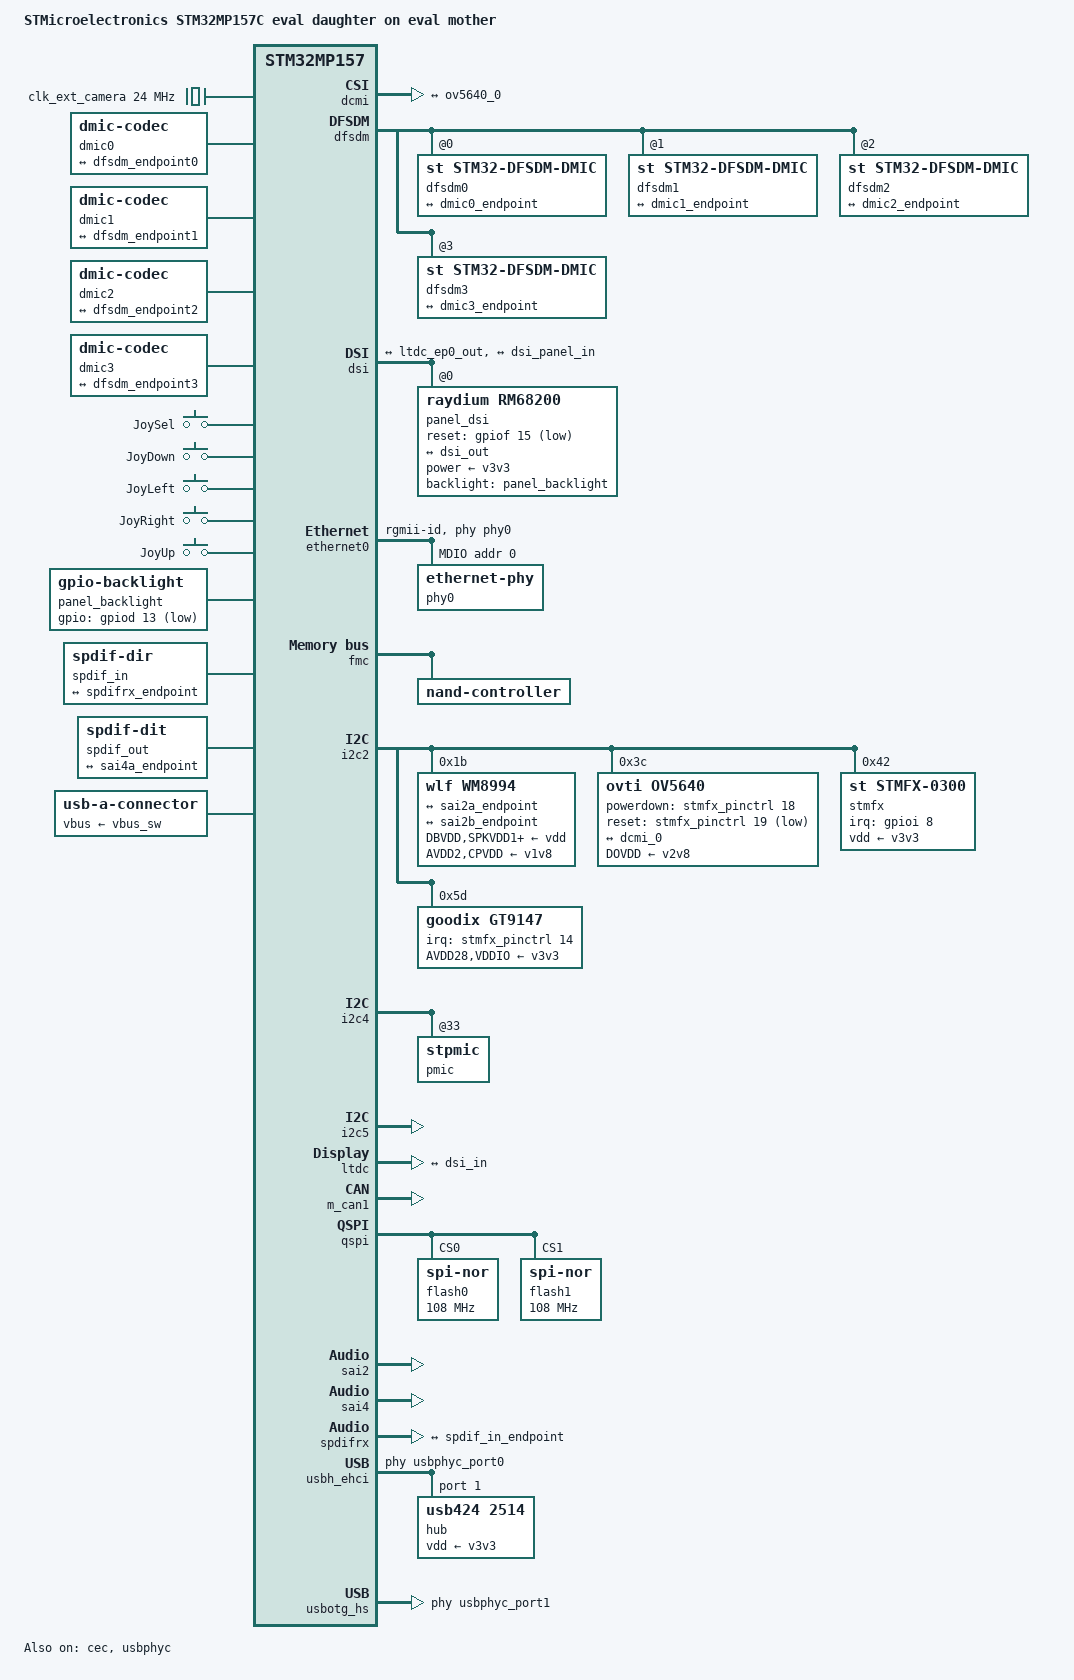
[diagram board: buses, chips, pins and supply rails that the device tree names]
// SPDX-License-Identifier: (GPL-2.0+ OR BSD-3-Clause)
/*
 * Copyright (C) STMicroelectronics 2017 - All Rights Reserved
 * Author: Ludovic Barre <ludovic.barre@st.com> for STMicroelectronics.
 */
/dts-v1/;

#include "stm32mp157c-ed1.dts"
#include "stm32mp157c-ev1-scmi.dtsi"
#include <dt-bindings/gpio/gpio.h>
#include <dt-bindings/input/input.h>

/ {
	model = "STMicroelectronics STM32MP157C eval daughter on eval mother";
	compatible = "st,stm32mp157c-ev1", "st,stm32mp157c-ed1", "st,stm32mp157";

	aliases {
		serial1 = &usart3;
		serial4 = &usart1;
		ethernet0 = &ethernet0;
	};

	chosen {
		#address-cells = <1>;
		#size-cells = <1>;
		ranges;
		stdout-path = "serial0:115200n8";

		framebuffer {
			compatible = "simple-framebuffer";
			clocks = <&rcc LTDC_PX>, <&rcc DSI>, <&rcc DSI_PX>;
			status = "disabled";
		};
	};

	clocks {
		clk_ext_camera: clk-ext-camera {
			#clock-cells = <0>;
			compatible = "fixed-clock";
			clock-frequency = <24000000>;
		};
	};

	dmic0: dmic-0 {
		compatible = "dmic-codec";
		#sound-dai-cells = <1>;
		sound-name-prefix = "dmic0";

		port {
			dmic0_endpoint: endpoint {
				remote-endpoint = <&dfsdm_endpoint0>;
			};
		};
	};

	dmic1: dmic-1 {
		compatible = "dmic-codec";
		#sound-dai-cells = <1>;
		sound-name-prefix = "dmic1";

		port {
			dmic1_endpoint: endpoint {
				remote-endpoint = <&dfsdm_endpoint1>;
			};
		};
	};

	dmic2: dmic-2 {
		compatible = "dmic-codec";
		#sound-dai-cells = <1>;
		sound-name-prefix = "dmic2";

		port {
			dmic2_endpoint: endpoint {
				remote-endpoint = <&dfsdm_endpoint2>;
			};
		};
	};

	dmic3: dmic-3 {
		compatible = "dmic-codec";
		#sound-dai-cells = <1>;
		sound-name-prefix = "dmic3";

		port {
			dmic3_endpoint: endpoint {
				remote-endpoint = <&dfsdm_endpoint3>;
			};
		};
	};

	joystick {
		compatible = "gpio-keys";
		pinctrl-0 = <&joystick_pins>;
		pinctrl-names = "default";
		button-0 {
			label = "JoySel";
			linux,code = <KEY_ENTER>;
			interrupt-parent = <&stmfx_pinctrl>;
			interrupts = <0 IRQ_TYPE_EDGE_RISING>;
		};
		button-1 {
			label = "JoyDown";
			linux,code = <KEY_DOWN>;
			interrupt-parent = <&stmfx_pinctrl>;
			interrupts = <1 IRQ_TYPE_EDGE_RISING>;
		};
		button-2 {
			label = "JoyLeft";
			linux,code = <KEY_LEFT>;
			interrupt-parent = <&stmfx_pinctrl>;
			interrupts = <2 IRQ_TYPE_EDGE_RISING>;
		};
		button-3 {
			label = "JoyRight";
			linux,code = <KEY_RIGHT>;
			interrupt-parent = <&stmfx_pinctrl>;
			interrupts = <3 IRQ_TYPE_EDGE_RISING>;
		};
		button-4 {
			label = "JoyUp";
			linux,code = <KEY_UP>;
			interrupt-parent = <&stmfx_pinctrl>;
			interrupts = <4 IRQ_TYPE_EDGE_RISING>;
		};
	};

	panel_backlight: panel-backlight {
		compatible = "gpio-backlight";
		gpios = <&gpiod 13 GPIO_ACTIVE_LOW>;
		default-on;
		default-brightness-level = <1>;
		status = "okay";
	};

	sound: sound {
		compatible = "audio-graph-card";
		label = "STM32MP15-EV";
		routing =
			"AIF1CLK" , "MCLK1",
			"AIF2CLK" , "MCLK1",
			"IN1LN" , "MICBIAS2",
			"DMIC2DAT" , "MICBIAS1",
			"DMIC1DAT" , "MICBIAS1";
		dais = <&sai2a_port &sai2b_port &sai4a_port &spdifrx_port
			&dfsdm0_port &dfsdm1_port &dfsdm2_port &dfsdm3_port>;
		status = "okay";
	};

	spdif_in: spdif-in {
		#sound-dai-cells = <0>;
		compatible = "linux,spdif-dir";

		spdif_in_port: port {
			spdif_in_endpoint: endpoint {
				remote-endpoint = <&spdifrx_endpoint>;
			};
		};
	};

	spdif_out: spdif-out {
		#sound-dai-cells = <0>;
		compatible = "linux,spdif-dit";

		spdif_out_port: port {
			spdif_out_endpoint: endpoint {
				remote-endpoint = <&sai4a_endpoint>;
			};
		};
	};
};

&cec {
	pinctrl-names = "default";
	pinctrl-0 = <&cec_pins_a>;
	status = "okay";
};

&dcmi {
	status = "okay";
	pinctrl-names = "default", "sleep";
	pinctrl-0 = <&dcmi_pins_a>;
	pinctrl-1 = <&dcmi_sleep_pins_a>;
	/*
	 * Enable DMA-MDMA chaining by adding a SRAM pool and
	 * a MDMA channel
	 */
	sram = <&dcmi_pool>;

	dmas = <&dmamux1 75 0x400 0x01>, <&mdma1 0 0x3 0x1200000a 0 0>;
	dma-names = "tx", "mdma_tx";

	port {
		dcmi_0: endpoint {
			remote-endpoint = <&ov5640_0>;
			bus-type = <5>;
			bus-width = <8>;
			hsync-active = <0>;
			vsync-active = <0>;
			pclk-sample = <1>;
			pclk-max-frequency = <77000000>;
		};
	};
};

&dfsdm {
	pinctrl-names = "default", "sleep";
	pinctrl-0 = <&dfsdm_clkout_pins_a
		     &dfsdm_data1_pins_a &dfsdm_data3_pins_a>;
	pinctrl-1 = <&dfsdm_clkout_sleep_pins_a
		     &dfsdm_data1_sleep_pins_a &dfsdm_data3_sleep_pins_a>;
	spi-max-frequency = <2048000>;

	clocks = <&rcc DFSDM_K>, <&rcc ADFSDM_K>;
	clock-names = "dfsdm", "audio";
	status = "okay";

	dfsdm0: filter@0 {
		compatible = "st,stm32-dfsdm-dmic";
		st,adc-channels = <3>;
		st,adc-channel-names = "dmic_u1";
		st,adc-channel-types = "SPI_R";
		st,adc-channel-clk-src = "CLKOUT";
		st,filter-order = <3>;
		status = "okay";

		asoc_pdm0: dfsdm-dai {
			compatible = "st,stm32h7-dfsdm-dai";
			#sound-dai-cells = <0>;
			io-channels = <&dfsdm0 0>;
			status = "okay";

			dfsdm0_port: port {
				dfsdm_endpoint0: endpoint {
					remote-endpoint = <&dmic0_endpoint>;
				};
			};
		};
	};

	dfsdm1: filter@1 {
		compatible = "st,stm32-dfsdm-dmic";
		st,adc-channels = <0>;
		st,adc-channel-names = "dmic_u2";
		st,adc-channel-types = "SPI_F";
		st,adc-channel-clk-src = "CLKOUT";
		st,filter-order = <3>;
		st,adc-alt-channel = <1>;
		status = "okay";

		asoc_pdm1: dfsdm-dai {
			compatible = "st,stm32h7-dfsdm-dai";
			#sound-dai-cells = <0>;
			io-channels = <&dfsdm1 0>;
			status = "okay";

			dfsdm1_port: port {
				dfsdm_endpoint1: endpoint {
					remote-endpoint = <&dmic1_endpoint>;
				};
			};
		};
	};

	dfsdm2: filter@2 {
		compatible = "st,stm32-dfsdm-dmic";
		st,adc-channels = <2>;
		st,adc-channel-names = "dmic_u3";
		st,adc-channel-types = "SPI_F";
		st,adc-channel-clk-src = "CLKOUT";
		st,adc-alt-channel = <1>;
		st,filter-order = <3>;
		status = "okay";

		asoc_pdm2: dfsdm-dai {
			compatible = "st,stm32h7-dfsdm-dai";
			#sound-dai-cells = <0>;
			io-channels = <&dfsdm2 0>;
			status = "okay";

			dfsdm2_port: port {
				dfsdm_endpoint2: endpoint {
					remote-endpoint = <&dmic2_endpoint>;
				};
			};
		};
	};

	dfsdm3: filter@3 {
		compatible = "st,stm32-dfsdm-dmic";
		st,adc-channels = <1>;
		st,adc-channel-names = "dmic_u4";
		st,adc-channel-types = "SPI_R";
		st,adc-channel-clk-src = "CLKOUT";
		st,filter-order = <3>;
		status = "okay";

		asoc_pdm3: dfsdm-dai {
			compatible = "st,stm32h7-dfsdm-dai";
			#sound-dai-cells = <0>;
			io-channels = <&dfsdm3 0>;
			status = "okay";

			dfsdm3_port: port {
				dfsdm_endpoint3: endpoint {
					remote-endpoint = <&dmic3_endpoint>;
				};
			};
		};
	};
};

&dsi {
	#address-cells = <1>;
	#size-cells = <0>;
	default-on;
	status = "okay";

	ports {
		#address-cells = <1>;
		#size-cells = <0>;

		port@0 {
			reg = <0>;
			dsi_in: endpoint {
				remote-endpoint = <&ltdc_ep0_out>;
			};
		};

		port@1 {
			reg = <1>;
			dsi_out: endpoint {
				remote-endpoint = <&dsi_panel_in>;
			};
		};
	};

	panel_dsi: panel-dsi@0 {
		compatible = "raydium,rm68200";
		reg = <0>;
		reset-gpios = <&gpiof 15 GPIO_ACTIVE_LOW>;
		backlight = <&panel_backlight>;
		power-supply = <&v3v3>;
		status = "okay";

		port {
			dsi_panel_in: endpoint {
				remote-endpoint = <&dsi_out>;
			};
		};
	};
};

&ethernet0 {
	status = "okay";
	pinctrl-0 = <&ethernet0_rgmii_pins_a>;
	pinctrl-1 = <&ethernet0_rgmii_sleep_pins_a>;
	pinctrl-names = "default", "sleep";
	phy-mode = "rgmii-id";
	max-speed = <1000>;
	phy-handle = <&phy0>;

	mdio {
		#address-cells = <1>;
		#size-cells = <0>;
		compatible = "snps,dwmac-mdio";
		phy0: ethernet-phy@0 {
			reg = <0>;
		};
	};
};

&fmc {
	pinctrl-names = "default", "sleep";
	pinctrl-0 = <&fmc_pins_a>;
	pinctrl-1 = <&fmc_sleep_pins_a>;
	status = "okay";

	nand-controller@4,0 {
		status = "okay";

		nand@0 {
			reg = <0>;
			nand-on-flash-bbt;
			#address-cells = <1>;
			#size-cells = <1>;
		};
	};
};

&i2c2 {
	pinctrl-names = "default", "sleep";
	pinctrl-0 = <&i2c2_pins_a>;
	pinctrl-1 = <&i2c2_sleep_pins_a>;
	i2c-scl-rising-time-ns = <185>;
	i2c-scl-falling-time-ns = <20>;
	/delete-property/dmas;
	/delete-property/dma-names;
	status = "okay";

	wm8994: wm8994@1b {
		compatible = "wlf,wm8994";
		#sound-dai-cells = <0>;
		reg = <0x1b>;

		gpio-controller;
		#gpio-cells = <2>;

		DBVDD-supply = <&vdd>;
		SPKVDD1-supply = <&vdd>;
		SPKVDD2-supply = <&vdd>;
		AVDD2-supply = <&v1v8>;
		CPVDD-supply = <&v1v8>;

		wlf,ldoena-always-driven;

		clocks = <&sai2a>;
		clock-names = "MCLK1";

		wlf,gpio-cfg = <0x8101 0xa100 0xa100 0xa100 0xa101 0xa101\
						0xa100 0xa101 0xa101 0xa101 0xa101>;

		ports {
			#address-cells = <1>;
			#size-cells = <0>;

			wm8994_tx_port: port@0 {
				reg = <0>;
				wm8994_tx_endpoint: endpoint {
					remote-endpoint = <&sai2a_endpoint>;
				};
			};

			wm8994_rx_port: port@1 {
				reg = <1>;
				wm8994_rx_endpoint: endpoint {
					remote-endpoint = <&sai2b_endpoint>;
				};
			};
		};
	};

	ov5640: camera@3c {
		compatible = "ovti,ov5640";
		reg = <0x3c>;
		clocks = <&clk_ext_camera>;
		clock-names = "xclk";
		DOVDD-supply = <&v2v8>;
		powerdown-gpios = <&stmfx_pinctrl 18 (GPIO_ACTIVE_HIGH | GPIO_PUSH_PULL)>;
		reset-gpios = <&stmfx_pinctrl 19 (GPIO_ACTIVE_LOW | GPIO_PUSH_PULL)>;
		rotation = <180>;
		status = "okay";

		port {
			ov5640_0: endpoint {
				remote-endpoint = <&dcmi_0>;
				bus-width = <8>;
				data-shift = <2>; /* lines 9:2 are used */
				hsync-active = <0>;
				vsync-active = <0>;
				pclk-sample = <1>;
				pclk-max-frequency = <77000000>;
			};
		};
	};

	stmfx: stmfx@42 {
		compatible = "st,stmfx-0300";
		reg = <0x42>;
		interrupts = <8 IRQ_TYPE_EDGE_RISING>;
		interrupt-parent = <&gpioi>;
		vdd-supply = <&v3v3>;

		stmfx_pinctrl: pinctrl {
			compatible = "st,stmfx-0300-pinctrl";
			gpio-controller;
			#gpio-cells = <2>;
			interrupt-controller;
			#interrupt-cells = <2>;
			gpio-ranges = <&stmfx_pinctrl 0 0 24>;

			goodix_pins: goodix {
				pins = "gpio14";
				bias-pull-down;
			};

			joystick_pins: joystick-pins {
				pins = "gpio0", "gpio1", "gpio2", "gpio3", "gpio4";
				bias-pull-down;
			};
		};
	};

	gt9147: goodix-ts@5d {
		compatible = "goodix,gt9147";
		reg = <0x5d>;
		panel = <&panel_dsi>;
		pinctrl-0 = <&goodix_pins>;
		pinctrl-names = "default";
		AVDD28-supply = <&v3v3>;
		VDDIO-supply = <&v3v3>;
		status = "okay";

		interrupts = <14 IRQ_TYPE_NONE>;
		interrupt-parent = <&stmfx_pinctrl>;
	};
};

&i2c4 {
	pmic: stpmic@33 {
		regulators {
			v1v8: ldo6 {
				regulator-enable-ramp-delay = <300000>;
			};
		};
	};
};

&i2c5 {
	pinctrl-names = "default", "sleep";
	pinctrl-0 = <&i2c5_pins_a>;
	pinctrl-1 = <&i2c5_sleep_pins_a>;
	i2c-scl-rising-time-ns = <185>;
	i2c-scl-falling-time-ns = <20>;
	/delete-property/dmas;
	/delete-property/dma-names;
	status = "okay";
};

&ltdc {
	default-on;
	status = "okay";

	port {
		ltdc_ep0_out: endpoint {
			remote-endpoint = <&dsi_in>;
		};
	};
};

&m_can1 {
	pinctrl-names = "default", "sleep";
	pinctrl-0 = <&m_can1_pins_a>;
	pinctrl-1 = <&m_can1_sleep_pins_a>;
	status = "okay";
};

&qspi {
	pinctrl-names = "default", "sleep";
	pinctrl-0 = <&qspi_clk_pins_a
		     &qspi_bk1_pins_a
		     &qspi_cs1_pins_a
		     &qspi_bk2_pins_a
		     &qspi_cs2_pins_a>;
	pinctrl-1 = <&qspi_clk_sleep_pins_a
		     &qspi_bk1_sleep_pins_a
		     &qspi_cs1_sleep_pins_a
		     &qspi_bk2_sleep_pins_a
		     &qspi_cs2_sleep_pins_a>;
	reg = <0x58003000 0x1000>, <0x70000000 0x4000000>;
	#address-cells = <1>;
	#size-cells = <0>;
	status = "okay";

	flash0: flash@0 {
		compatible = "jedec,spi-nor";
		reg = <0>;
		spi-rx-bus-width = <4>;
		spi-max-frequency = <108000000>;
		#address-cells = <1>;
		#size-cells = <1>;
	};

	flash1: flash@1 {
		compatible = "jedec,spi-nor";
		reg = <1>;
		spi-rx-bus-width = <4>;
		spi-max-frequency = <108000000>;
		#address-cells = <1>;
		#size-cells = <1>;
	};
};

&sai2 {
	clocks = <&rcc SAI2>, <&rcc PLL3_Q>, <&rcc PLL3_R>;
	pinctrl-names = "default", "sleep";
	pinctrl-0 = <&sai2a_pins_a>, <&sai2b_pins_a>;
	pinctrl-1 = <&sai2a_sleep_pins_a>, <&sai2b_sleep_pins_a>;
	clock-names = "pclk", "x8k", "x11k";
	status = "okay";

	sai2a: audio-controller@4400b004 {
		#clock-cells = <0>;
		dma-names = "tx";
		status = "okay";

		sai2a_port: port {
			sai2a_endpoint: endpoint {
				remote-endpoint = <&wm8994_tx_endpoint>;
				format = "i2s";
				mclk-fs = <256>;
			};
		};
	};

	sai2b: audio-controller@4400b024 {
		dma-names = "rx";
		clocks = <&rcc SAI2_K>, <&sai2a>;
		clock-names = "sai_ck", "MCLK";
		status = "okay";

		sai2b_port: port {
			sai2b_endpoint: endpoint {
				remote-endpoint = <&wm8994_rx_endpoint>;
				format = "i2s";
				mclk-fs = <256>;
			};
		};
	};
};

&sai4 {
	clocks = <&rcc SAI4>, <&rcc PLL3_Q>, <&rcc PLL3_R>;
	clock-names = "pclk", "x8k", "x11k";
	status = "okay";

	sai4a: audio-controller@50027004 {
		pinctrl-names = "default", "sleep";
		pinctrl-0 = <&sai4a_pins_a>;
		pinctrl-1 = <&sai4a_sleep_pins_a>;
		dma-names = "tx";
		st,iec60958;
		status = "okay";

		sai4a_port: port {
			sai4a_endpoint: endpoint {
				remote-endpoint = <&spdif_out_endpoint>;
			};
		};
	};
};

&sdmmc3 {
	pinctrl-names = "default", "opendrain", "sleep";
	pinctrl-0 = <&sdmmc3_b4_pins_a>;
	pinctrl-1 = <&sdmmc3_b4_od_pins_a>;
	pinctrl-2 = <&sdmmc3_b4_sleep_pins_a>;
	broken-cd;
	st,neg-edge;
	bus-width = <4>;
	vmmc-supply = <&v3v3>;
	status = "disabled";
};

&spdifrx {
	pinctrl-names = "default", "sleep";
	pinctrl-0 = <&spdifrx_pins_a>;
	pinctrl-1 = <&spdifrx_sleep_pins_a>;
	status = "okay";

	spdifrx_port: port {
		spdifrx_endpoint: endpoint {
			remote-endpoint = <&spdif_in_endpoint>;
		};
	};
};

&spi1 {
	pinctrl-names = "default", "sleep";
	pinctrl-0 = <&spi1_pins_a>;
	pinctrl-1 = <&spi1_sleep_pins_a>;
	status = "disabled";
};

&sram4 {
	dcmi_pool: dcmi-pool@0 {
		reg = <0x0 0x8000>;
		pool;
	};
};

&timers2 {
	/* spare dmas for other usage (un-delete to enable pwm capture) */
	/delete-property/dmas;
	/delete-property/dma-names;
	status = "disabled";
	counter {
		status = "okay";
	};
	pwm {
		pinctrl-0 = <&pwm2_pins_a>;
		pinctrl-1 = <&pwm2_sleep_pins_a>;
		pinctrl-names = "default", "sleep";
		status = "okay";
	};
	timer@1 {
		status = "okay";
	};
};

&timers8 {
	/delete-property/dmas;
	/delete-property/dma-names;
	status = "disabled";
	counter {
		status = "okay";
	};
	pwm {
		pinctrl-0 = <&pwm8_pins_a>;
		pinctrl-1 = <&pwm8_sleep_pins_a>;
		pinctrl-names = "default", "sleep";
		status = "okay";
	};
	timer@7 {
		status = "okay";
	};
};

&timers12 {
	/delete-property/dmas;
	/delete-property/dma-names;
	status = "disabled";
	counter {
		status = "okay";
	};
	pwm {
		pinctrl-0 = <&pwm12_pins_a>;
		pinctrl-1 = <&pwm12_sleep_pins_a>;
		pinctrl-names = "default", "sleep";
		status = "okay";
	};
	timer@11 {
		status = "okay";
	};
};

&usart1 {
	pinctrl-names = "default", "sleep", "idle";
	pinctrl-0 = <&usart1_pins_a>;
	pinctrl-1 = <&usart1_sleep_pins_a>;
	pinctrl-2 = <&usart1_idle_pins_a>;
	/delete-property/dmas;
	/delete-property/dma-names;
	status = "disabled";
};

&usart3 {
	pinctrl-names = "default", "sleep", "idle";
	pinctrl-0 = <&usart3_pins_b>;
	pinctrl-1 = <&usart3_sleep_pins_b>;
	pinctrl-2 = <&usart3_idle_pins_b>;
	/*
	 * HW flow control USART3_RTS is optional, and isn't default wired to
	 * the connector. SB23 needs to be soldered in order to use it, and R77
	 * (ETH_CLK) should be removed.
	 */
	uart-has-rtscts;
	status = "disabled";
};

&usbh_ehci {
	phys = <&usbphyc_port0>;
	status = "okay";
	#address-cells = <1>;
	#size-cells = <0>;
	/* onboard HUB */
	hub@1 {
		compatible = "usb424,2514";
		reg = <1>;
		vdd-supply = <&v3v3>;
	};
};

&usbotg_hs {
	pinctrl-0 = <&usbotg_hs_pins_a>;
	pinctrl-names = "default";
	phys = <&usbphyc_port1 0>;
	phy-names = "usb2-phy";
	status = "okay";
};

&usbphyc {
	status = "okay";
};

&usbphyc_port0 {
	st,tune-hs-dc-level = <2>;
	st,enable-fs-rftime-tuning;
	st,enable-hs-rftime-reduction;
	st,trim-hs-current = <15>;
	st,trim-hs-impedance = <1>;
	st,tune-squelch-level = <3>;
	st,tune-hs-rx-offset = <2>;
	st,no-lsfs-sc;
	connector {
		compatible = "usb-a-connector";
		vbus-supply = <&vbus_sw>;
	};
};

&usbphyc_port1 {
	st,tune-hs-dc-level = <2>;
	st,enable-fs-rftime-tuning;
	st,enable-hs-rftime-reduction;
	st,trim-hs-current = <15>;
	st,trim-hs-impedance = <1>;
	st,tune-squelch-level = <3>;
	st,tune-hs-rx-offset = <2>;
	st,no-lsfs-sc;
};
